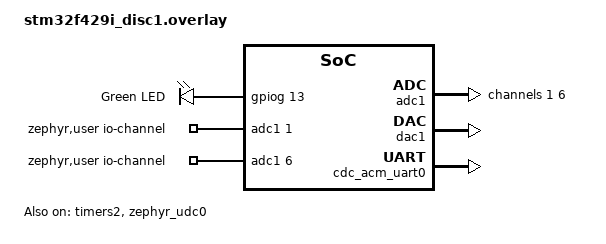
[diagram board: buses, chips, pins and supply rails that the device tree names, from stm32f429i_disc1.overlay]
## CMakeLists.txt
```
# CMakeLists.txt Simples

cmake_minimum_required(VERSION 3.20.0)

find_package(Zephyr REQUIRED HINTS $ENV{ZEPHYR_BASE})
project(led_blink_app)

target_sources(app PRIVATE src/main.c)
```

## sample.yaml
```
sample:
  name: Console over USB
tests:
  sample.usb.console:
    depends_on:
      - usb_device
    tags: usb
    harness: console
    harness_config:
      fixture: fixture_usb_cdc
```

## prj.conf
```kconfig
# Configuração Zephyr - Com Shell e Monitoramento via USB CDC ACM

# --- Configurações Básicas ---
CONFIG_MAIN_STACK_SIZE=2048
CONFIG_LOG=y
CONFIG_LOG_DEFAULT_LEVEL=3

# --- Configuração do GPIO ---
CONFIG_GPIO=y

# --- Configuração do USB Device Stack ---
CONFIG_USB_DEVICE_STACK=y
CONFIG_USB_DEVICE_PRODUCT="STM32F429I Discovery"
CONFIG_USB_DEVICE_MANUFACTURER="Zephyr"
# Habilita o driver CDC ACM (Virtual COM Port)
CONFIG_USB_CDC_ACM=y
# Define o nome do dispositivo que será usado pelo driver CDC ACM
CONFIG_USB_DEVICE_INITIALIZE_AT_BOOT=y

# --- Configuração do Console e Shell sobre USB ---
# Habilita o console
CONFIG_CONSOLE=y
# Habilita o driver de serial, necessário para o backend do shell e console
CONFIG_SERIAL=y
# Permite obter o controle da linha (necessário para CDC ACM)
CONFIG_UART_LINE_CTRL=y

# Habilita o Shell
CONFIG_SHELL=y
# Define o backend do shell para ser o serial (que será o USB CDC ACM)
CONFIG_SHELL_BACKEND_SERIAL=y
# Aumenta o buffer do shell para evitar perdas de caracteres
CONFIG_SHELL_CMD_BUFF_SIZE=256
CONFIG_SHELL_STACK_SIZE=2048

# --- Monitoramento de Threads ---
CONFIG_THREAD_MONITOR=y
CONFIG_THREAD_NAME=y
CONFIG_THREAD_RUNTIME_STATS=y
CONFIG_SCHED_THREAD_USAGE=y
CONFIG_SCHED_THREAD_USAGE_ANALYSIS=y

# --- Configuração ADC/DAC ---
CONFIG_DAC=y
CONFIG_ADC=y
# --- Configuração de Heap ---
CONFIG_HEAP_MEM_POOL_SIZE=8192

# --- Configurações de Stack Info (opcional para debug) ---
# CONFIG_THREAD_STACK_INFO=y

# --- Configurações de Sistema ---
CONFIG_SYSTEM_WORKQUEUE_STACK_SIZE=2048
CONFIG_IDLE_STACK_SIZE=512

# --- Configurações de Floating Point ---
CONFIG_FPU=y
```

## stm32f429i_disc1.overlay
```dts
/*
 * Device Tree Overlay para STM32F429I Discovery
 * - Configura o LED Verde (PG13).
 * - Configura o Console e Shell para usar USB CDC ACM (Virtual COM Port).
 * - Adiciona um alias para o botão do usuário (PA0).
 */

/ {
    chosen {
        /* Redireciona o console e o shell para o dispositivo USB CDC ACM UART */
        zephyr,console = &cdc_acm_uart0;
        zephyr,shell-uart = &cdc_acm_uart0;
        zephyr,cpu-load-counter = &timers2;
    };
    
    aliases {
        led0 = &green_led;
        led1 = &red_led_4;
        sw0 = &user_button; /* Apenas referenciamos o botão existente no dts base. */
    };

    leds {
        compatible = "gpio-leds";
        green_led: led_0 {
            gpios = <&gpiog 13 GPIO_ACTIVE_HIGH>;
            label = "Green LED";
        };
    };

    zephyr,user {
		dac = <&dac1>;
		dac-channel-id = <1>;
		dac-resolution = <12>;
		io-channels = <&adc1 1>, <&adc1 6>;
	};
};

&adc1 {
    st,adc-prescaler = <4>;
    status = "okay";
    #address-cells = <1>;
	#size-cells = <0>;

	channel@1 {
		reg = <1>;
		zephyr,gain = "ADC_GAIN_1";
		zephyr,reference = "ADC_REF_INTERNAL";
		zephyr,acquisition-time = <ADC_ACQ_TIME_DEFAULT>;
		zephyr,resolution = <12>;
	};

	channel@6 {
		reg = <6>;
		zephyr,gain = "ADC_GAIN_1";
		zephyr,reference = "ADC_REF_INTERNAL";
		zephyr,acquisition-time = <ADC_ACQ_TIME_DEFAULT>;
		zephyr,resolution = <12>;
	};
};

&dac1 {
    status = "okay";
};

&timers2 {
    status = "okay";
};

/* Habilita os clocks dos GPIOs necessários */
&gpiog {
    status = "okay"; /* Para o LED em PG13 */
};

&gpioa {
    status = "okay"; /* Para o Botão do Usuário em PA0 */
};

/* Habilita o controlador USB e adiciona a instância do CDC ACM */
&zephyr_udc0 {
    status = "okay"; /* Garante que o controlador USB está habilitado */
    cdc_acm_uart0: cdc_acm_uart0 {
        compatible = "zephyr,cdc-acm-uart";
        label = "CDC_ACM_UART_0";
    };
};
```

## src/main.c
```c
#include <zephyr/kernel.h>
#include <zephyr/device.h>
#include <zephyr/drivers/gpio.h>
#include <zephyr/drivers/dac.h>
#include <zephyr/logging/log.h>
#include <zephyr/shell/shell.h> // api do shel, comunicação
#include <stdlib.h>             // para atoi
#include <string.h>             // para strlen, strtol
#include <zephyr/debug/thread_analyzer.h>
#include <zephyr/drivers/adc.h>
#include <zephyr/devicetree.h>
#include <inttypes.h>
#include <stddef.h>
#include <stdint.h>
#include <zephyr/sys/util.h>

LOG_MODULE_REGISTER(main, LOG_LEVEL_INF);

/* --- CONFIGURAÇÃO DOS LEDS, BOTÕES E THREADS --- */

#define LED0_NODE DT_ALIAS(led0)
#define LED1_NODE DT_ALIAS(led1)
#define SW0_NODE DT_ALIAS(sw0)
#define ZEPHYR_USER_NODE DT_PATH(zephyr_user)
#define DAC_NODE DT_PHANDLE(ZEPHYR_USER_NODE, dac)
#define DAC_CHANNEL_ID DT_PROP(ZEPHYR_USER_NODE, dac_channel_id)
#define DAC_RESOLUTION DT_PROP(ZEPHYR_USER_NODE, dac_resolution)
#define DT_SPEC_AND_COMMA(node_id, prop, idx) \
    ADC_DT_SPEC_GET_BY_IDX(node_id, idx),
static const struct device *const dac_dev = DEVICE_DT_GET(DAC_NODE);

static const struct dac_channel_cfg dac_ch_cfg = {
    .channel_id = DAC_CHANNEL_ID,
    .resolution = DAC_RESOLUTION,
#if defined(CONFIG_DAC_BUFFER_NOT_SUPPORT)
    .buffered = false,
#else
    .buffered = true,
#endif /* CONFIG_DAC_BUFFER_NOT_SUPPORT */
};

static const struct adc_dt_spec adc_channels[] = {
    DT_FOREACH_PROP_ELEM(DT_PATH(zephyr_user), io_channels,
                         DT_SPEC_AND_COMMA)};

static const struct gpio_dt_spec led = GPIO_DT_SPEC_GET(LED0_NODE, gpios);
static const struct gpio_dt_spec led1 = GPIO_DT_SPEC_GET(LED1_NODE, gpios);
static const struct gpio_dt_spec button = GPIO_DT_SPEC_GET_OR(SW0_NODE, gpios,
                                                              {0});
uint64_t sample_speed = 1000;
static struct gpio_callback button_cb_data;
volatile uint32_t led_speed = 1000;
volatile uint8_t led_mode = 0; // 0 = leds alternando, 1 = apenas led verde, 2 = apenas led vermelho, 3 = leds sincronizados

// Variáveis para monitoramento ADC/DAC
volatile uint32_t last_adc_value = 0;
volatile uint32_t last_dac_value = 0;
volatile uint32_t last_adc_mv = 0;
volatile uint8_t adc_dac_enable_print = 0;

/* Estrutura para passar informações para o callback */
struct task_search_info {
    const struct shell *shell;
    const char *task_name;
    bool found;
};

struct task_search_info search_info_g;

#define LED_STACK_SIZE 512
#define LED_PRIORITY 5 // Prioridade da tarefa do LED
#define FILTER_PRIORITY 3
#define FILTER_STACK_SIZE 1024
const uint16_t dac_values = 1U << DAC_RESOLUTION;

const uint16_t sleep_time = 4096 / dac_values > 0 ? 4096 / dac_values : 1;
K_THREAD_STACK_DEFINE(led_stack, LED_STACK_SIZE);
K_THREAD_STACK_DEFINE(filter_stack, FILTER_STACK_SIZE);
struct k_thread led_thread_data;
struct k_thread dac_thread_data;
k_tid_t led_thread_id;
k_tid_t filter_thread_id;

/* --- TAREFA DO LED (Soft Real-Time) --- */
// Esta é um exemplo de tarefa de tempo real soft.
/* Esta tarefa pisca os leds de acordo com o led_mode, definido no cabeçalho do arquivo. */
void led_task(void *arg1, void *arg2, void *arg3)
{
    ARG_UNUSED(arg1);
    ARG_UNUSED(arg2);
    ARG_UNUSED(arg3);

    LOG_INF("LED task started");
    gpio_pin_toggle_dt(&led); // inicia a task como led_mode = 0;

    while (1)
    {

        if (led_mode == 0 || led_mode == 3)
        {
            gpio_pin_toggle_dt(&led);
            gpio_pin_toggle_dt(&led1);
        }
        else if (led_mode == 1)
        {
            gpio_pin_toggle_dt(&led);
        }
        else if (led_mode == 2)
        {
            gpio_pin_toggle_dt(&led1);
        }

        k_sleep(K_MSEC(led_speed));
        
    }
}

void filter_task()
{

    uint8_t err;
    uint16_t buf;
    struct adc_sequence sequence = {
        .buffer = &buf,
        /* buffer size in bytes, not number of samples */
        .buffer_size = sizeof(buf),
    };

    /* Configure channels individually prior to sampling. */
    for (size_t i = 0U; i < ARRAY_SIZE(adc_channels); i++)
    {
        if (!adc_is_ready_dt(&adc_channels[i]))
        {
            printk("ADC controller device %s not ready\n", adc_channels[i].dev->name);
            return;
        }

        err = adc_channel_setup_dt(&adc_channels[i]);
        if (err < 0)
        {
            printk("Could not setup channel #%d (%d)\n", i, err);
            return;
        }
    }

    uint8_t sample_size = 30;
    uint16_t samples_to_filter[sample_size];
    uint8_t current_index = 0;
    for (uint8_t i = 0; i < sample_size; i++)
    {
        samples_to_filter[i] = 0.0;
    }

    while (1)
    {

        for (size_t i = 0U; i < ARRAY_SIZE(adc_channels); i++)
        {
            int32_t val_mv;

            (void)adc_sequence_init_dt(&adc_channels[i], &sequence);

            err = adc_read_dt(&adc_channels[i], &sequence);
            if (err < 0)
            {
                printk("Could not read (%d)\n", err);
                continue;
            }

            if (adc_channels[i].channel_cfg.differential)
            {
                val_mv = (int32_t)((int16_t)buf);
            }
            else
            {
                val_mv = (int32_t)buf;
            }

            samples_to_filter[current_index] = val_mv;
            current_index++;

            if (current_index >= sample_size)
            {
                current_index = 0;
            }

            float sum = 0.0;
            for (uint8_t i = 0; i < sample_size; i++)
            {
                sum += samples_to_filter[i];
            }

            uint32_t filtered_value = (uint32_t)(sum / sample_size);

            // Atualiza variáveis para monitoramento
            last_adc_value = val_mv;
            last_dac_value = filtered_value;

            dac_write_value(dac_dev, DAC_CHANNEL_ID, filtered_value);

            err = adc_raw_to_millivolts_dt(&adc_channels[i], &val_mv);
            if (err >= 0)
            {
                last_adc_mv = val_mv;
            }
        }

            k_sleep(K_USEC(sample_speed));
    }
}

/* Função axuiliar que verifica se uma string pode ser convertida a um número
    Retorna 1 se sim, 0 se não.
*/
uint8_t is_string_number(const char *str)
{
    char *endptr;
    long val = strtol(str, &endptr, 10);
    (void)val;  // Corrigido: casting correto
    return (*endptr == '\0' && endptr != str);
}

/* Função chamada pela interrupção do botão, que altera o estado dos LEDS. */
void button_pressed(const struct device *dev, struct gpio_callback *cb,
                    uint32_t pins)
{
    if (led_mode == 0)
    {
        gpio_pin_set_dt(&led, 1);
        gpio_pin_set_dt(&led1, 0);
    }
    else if (led_mode == 1)
    {
        gpio_pin_set_dt(&led, 0);
        gpio_pin_set_dt(&led1, 1);
    }
    else if (led_mode == 2)
    {
        gpio_pin_set_dt(&led, 1);
        gpio_pin_set_dt(&led1, 1);
    }
    else
    {
        gpio_pin_set_dt(&led, 1);
        gpio_pin_set_dt(&led1, 0);
        led_mode = 0;
        return;
    }

    led_mode++;
}

/* --- COMANDOS DO SHELL --- */

/* Comando para controlar a velocidade do LED*/
static int cmd_led_control(const struct shell *shell, size_t argc, char **argv)
{
    if (argc != 2)
    {
        shell_print(shell, "Uso: led <speed_em_ms>");
        return -EINVAL;
    }

    if (is_string_number(argv[1]) != 0)
    {

        if (strlen(argv[1]) > 10 || strlen(argv[1]) == 0)
        {
            shell_print(shell, "Velocidade do LED inválida.");
            return -EINVAL;
        }

        if (argv[1][0] == '-')
        {
            shell_print(shell, "Velocidade do LED inválida.");
            return -EINVAL;
        }

        uint32_t user_input_led_speed = atoi(argv[1]);
        led_speed = user_input_led_speed;
        shell_print(shell, "Frequência de amostragem alterada para: %d hz", led_speed);
        return 0;
    }
    shell_print(shell, "Velocidade do LED inválida.");
    return -EINVAL;
}

/* Função para mostrar ajuda na inicialização */
void show_startup_help(void)
{
    printk("\n");
    printk("=== Sistema Zephyr Tempo Real Iniciado ===\n");
    printk("Digite 'help' para ver comandos disponíveis\n");
    printk("==========================================\n");
}

/* Callback para buscar informações de uma tarefa específica */
static void specific_task_info_callback(const struct k_thread *thread, void *user_data)
{
    // Cast para remover const - necessário para compatibilidade da API
    k_tid_t tid = (k_tid_t)thread;
    const char *name = k_thread_name_get(tid);
    
    if (search_info_g.task_name == NULL || strcmp(name, search_info_g.task_name) == 0)
    {
        search_info_g.found = true;
        struct k_thread_runtime_stats stats;
        k_thread_runtime_stats_get(tid, &stats);

        /* Buffer para armazenar a string do estado da thread */
        char state_buf[32];

        shell_print(search_info_g.shell, "=== Informações da Tarefa: %s ===", name);
        
        shell_print(search_info_g.shell, "Uso de CPU: %llu ciclos", stats.execution_cycles);

        shell_print(search_info_g.shell, "Estado: %s", k_thread_state_str(tid, state_buf, sizeof(state_buf)));
        
        // Informações específicas para tarefas de tempo real
        if (strcmp(name, "led_task") == 0)
        {
            char *led_details[] = {"ambos, alternando", "apenas LED verde",
                                   "apenas LED vermelho", "ambos, sincronizados"};
            shell_print(search_info_g.shell, "Tipo: Tempo Real Soft");
            shell_print(search_info_g.shell, "Prioridade: %d", LED_PRIORITY);
            shell_print(search_info_g.shell, "Velocidade: %d ms", led_speed);
            shell_print(search_info_g.shell, "Modo LED: %s", led_details[led_mode]);
        }
        else if (strcmp(name, "filter_task") == 0)
        {
            shell_print(search_info_g.shell, "Tipo: Tempo Real Hard");
            shell_print(search_info_g.shell, "Prioridade: %d", FILTER_PRIORITY);
            shell_print(search_info_g.shell, "Função: Filtro digital ADC->DAC");
            shell_print(search_info_g.shell, "Último ADC: %d (%d mV)",
                        last_adc_value, last_adc_mv);
            shell_print(search_info_g.shell, "Último DAC: %d", last_dac_value);
            shell_print(search_info_g.shell, "Frequência de amostragem: %i", 1000000/sample_speed);
        }
        shell_print(search_info_g.shell, "=====================================");
    }
}

/* Comando para exibir informações da tarefa do LED */
static int cmd_task_info(const struct shell *shell, size_t argc, char **argv)
{
    search_info_g.shell = shell;
    search_info_g.task_name = NULL;
    search_info_g.found = false;

    if (argc == 2)
    {
        search_info_g.task_name = argv[1];
        shell_print(shell, "Buscando informações da tarefa: %s", argv[1]);
    }
    else if (argc == 1)
    {
        shell_print(shell, "Mostrando informações de todas as tarefas:");
    }
    else
    {
        shell_print(shell, "Uso: task_info [nome_da_tarefa]");
        shell_print(shell, "Tarefas disponíveis: led_task, filter_task");
        return -EINVAL;
    }

    k_thread_foreach(specific_task_info_callback, NULL);

    if (argc == 2 && !search_info_g.found)
    {
        shell_print(shell, "Tarefa '%s' não encontrada.", argv[1]);
        shell_print(shell, "Tarefas disponíveis: led_task, filter_task");
        return -ENOENT;
    }

    return 0;
}

/* Callback para listar todas as tarefas */
static void thread_list_callback(const struct k_thread *thread, void *user_data)
{
    // Cast para remover const - necessário para compatibilidade da API
    k_tid_t tid = (k_tid_t)thread;
    const char *name = k_thread_name_get(tid);
    
    /* Buffer para armazenar a string do estado da thread */
    char state_buf[32];
    
    shell_print(search_info_g.shell, "%-15s | %s",
                name,
                /* Chamada correta, passando o buffer */
                k_thread_state_str(tid, state_buf, sizeof(state_buf)));
}

static int cmd_system_info(const struct shell *shell, size_t argc, char **argv)
{
    search_info_g.shell = shell;
    search_info_g.task_name = NULL;
    search_info_g.found = false;

    shell_print(shell, "=== Informações do Sistema ===");
    shell_print(shell, "Tarefas Instaladas:");
    shell_print(shell, "Nome            | Estado");
    shell_print(shell, "----------------|-------");

    k_thread_foreach(thread_list_callback, NULL);

    shell_print(shell, "");

    shell_print(shell, "Heap configurado: %d bytes", CONFIG_HEAP_MEM_POOL_SIZE);

    shell_print(shell, "");
    shell_print(shell, "Para informações detalhadas de uma tarefa específica:");
    shell_print(shell, "  task_info <nome_tarefa>");

    return 0;
}

/* Comando para controlar saída ADC/DAC */
static int cmd_adc_dac_control(const struct shell *shell, size_t argc, char **argv)
{
     if (argc != 2)
    {
        shell_print(shell, "Uso: adc_dac <frequencia_de_amostragem_hz>");
        return -EINVAL;
    }

    if (is_string_number(argv[1]) != 0)
    {

        if (strlen(argv[1]) > 10 || strlen(argv[1]) == 0)
        {
            shell_print(shell, "Frequencia inválida.");
            return -EINVAL;
        }

        if (argv[1][0] == '-')
        {
            shell_print(shell, "Frequência inválida.");
            return -EINVAL;
        }
        if (atoi(argv[1]) < 1 || atoi(argv[1]) > 100000){
            shell_print(shell, "Frequência de amostragem inválida. Digite um valor entre 1 e 100khz");
        }
        uint32_t user_input_sample_frequency = atoi(argv[1]);
        sample_speed = ( 1 / user_input_sample_frequency ) * 1000000; // Período em microssegundos
        shell_print(shell, "Frequencia de amostragem alterada para: %d Hz ", user_input_sample_frequency);
        return 0;
    }
    shell_print(shell, "Frequência inválida.");
    return -EINVAL;
}

/* Comando para mostrar informações do sistema */
static int cmd_help(const struct shell *shell, size_t argc, char **argv)
{
    shell_print(shell, "=== Comandos Disponíveis ===");
    shell_print(shell, "");
    shell_print(shell, "led <speed_ms>      - Controla velocidade do LED em ms");
    shell_print(shell, "task_info [nome]    - Informações detalhadas de tarefa");
    shell_print(shell, "                      Tarefas: led_task, filter_task");
    shell_print(shell, "system              - Informações do sistema completo");
    shell_print(shell, "adc_dac <frequencia_amostragem>    - Habilita/desabilita saída ADC/DAC");
    shell_print(shell, "help                - Mostra esta ajuda");
    shell_print(shell, "");
    shell_print(shell, "=== Informações das Tarefas de Tempo Real ===");
    shell_print(shell, "led_task     - Tempo Real Soft  (Prioridade %d)", LED_PRIORITY);
    shell_print(shell, "filter_task  - Tempo Real Hard  (Prioridade %d)", FILTER_PRIORITY);
    shell_print(shell, "");
    shell_print(shell, "Pressione o botão da placa para alterar modo dos LEDs");
    shell_print(shell, "============================");

    return 0;
}

/* Registro dos comandos no sistema do Shell */
SHELL_CMD_REGISTER(led, NULL, "Controla a velocidade do LED", cmd_led_control);
SHELL_CMD_REGISTER(task_info, NULL, "Informações detalhadas de tarefa", cmd_task_info);
SHELL_CMD_REGISTER(system, NULL, "Informações completas do sistema", cmd_system_info);
SHELL_CMD_REGISTER(adc_dac, NULL, "Controla saída ADC/DAC", cmd_adc_dac_control);
SHELL_CMD_REGISTER(help, NULL, "Mostra comandos disponíveis", cmd_help);

/* --- FUNÇÃO PRINCIPAL --- */
int main(void)
{
    int ret;

    LOG_INF("Aplicacao Zephyr com Shell Iniciada...");

    /* Verifica se o dispositivo do LED está pronto */
    if (!device_is_ready(led.port))
    {
        LOG_ERR("Dispositivo do LED nao esta pronto");
        return -ENODEV;
    }

    /* Configura o pino do LED como saída */
    ret = gpio_pin_configure_dt(&led, GPIO_OUTPUT_ACTIVE);
    if (ret < 0)
    {
        LOG_ERR("Falha ao configurar o pino do LED: %d", ret);
        return ret;
    }

    /* Verifica se o dispositivo do LED1 está pronto */
    if (!device_is_ready(led1.port))
    {
        LOG_ERR("Dispositivo do LED1 nao esta pronto");
        return -ENODEV;
    }

    /* Configura o pino do LED como saída */
    ret = gpio_pin_configure_dt(&led1, GPIO_OUTPUT_ACTIVE);
    if (ret < 0)
    {
        LOG_ERR("Falha ao configurar o pino do LED: %d", ret);
        return ret;
    }

    /* Cria a thread do LED */
    led_thread_id = k_thread_create(&led_thread_data, led_stack,
                                    K_THREAD_STACK_SIZEOF(led_stack),
                                    led_task, NULL, NULL, NULL,
                                    LED_PRIORITY, 0, K_NO_WAIT);

    // Define um nome para a thread, que aparecerá nos comandos do shell
    k_thread_name_set(led_thread_id, "led_task");

    /* Configura o pino do botão */
    ret = gpio_pin_configure_dt(&button, GPIO_INPUT);
    if (ret != 0)
    {
        LOG_ERR("Error %d: failed to configure %s pin %d\n",
                ret, button.port->name, button.pin);
        return 0;
    }

    /* Configura a interrupção do botão */
    ret = gpio_pin_interrupt_configure_dt(&button,
                                          GPIO_INT_EDGE_TO_ACTIVE);
    if (ret != 0)
    {
        LOG_ERR("Error %d: failed to configure interrupt on %s pin %d\n",
                ret, button.port->name, button.pin);
        return 0;
    }

    gpio_init_callback(&button_cb_data, button_pressed, BIT(button.pin));
    gpio_add_callback(button.port, &button_cb_data);
    LOG_INF("Set up button at %s pin %d\n", button.port->name, button.pin);

    if (!device_is_ready(dac_dev))
    {
        printk("DAC device %s is not ready\n", dac_dev->name);
        return 0;
    }

    ret = dac_channel_setup(dac_dev, &dac_ch_cfg);

    if (ret != 0)
    {
        printk("Setting up of DAC channel failed with code %d\n", ret);
        return 0;
    }

    filter_thread_id = k_thread_create(&dac_thread_data, filter_stack,
                                       K_THREAD_STACK_SIZEOF(filter_stack),
                                       filter_task, NULL, NULL, NULL,
                                       FILTER_PRIORITY, 0, K_NO_WAIT);

    k_thread_name_set(filter_thread_id, "filter_task");

    LOG_INF("Tarefa do LED criada com sucesso. Shell esta pronto.");

    /* Aguarda um pouco para garantir que o shell esteja pronto */
    k_sleep(K_MSEC(2000));

    /* Mostra ajuda na inicialização */
    show_startup_help();

    return 0;
}

/*
1. Criar uma aplicação que tenha pelo menos uma tarefa de tempo real hard e e uma de tempo real soft.

Exemplos de tarefa de tempo real hard realtime:
- Calcular a FFT de um sinal de um canal do ADC (sinal gerado por gerador de sinal ou pelo DAC)
- implementar um filtro digital em um sinal capturado pelo ADC e jogá-lo filtrado no DAC
- controle de motor
- aquisição de dados de um microfone e processamento de audio

Exemplos de tarefa de tempo real soft realtime:
- escrita ou leitura de cartão SD
- envio de informações para uma nuvem
- a própria tarefa do shell
- atualização de uma tela gráfica
- leitura periódica de sensores (temperatura, acelerometro, etc)

2. Criar uma tarefa para o console/shell que permita o acesso às informações primárias
 do sistema (tarefas instaladas, heap livre e informações de runtime das tarefas).
Crie também um comando para acessar informações com relação às tarefas de tempo real.

3. Criar uma tarefa para piscar um led. done

4. Criar uma tarefa que executa alguma função pelo clique do botão da placa utilizada. done

falta fazer: comando "adc_dac on" plota muito mas eh possivel fazer ele parar com "adc_dac off"
*/
```
